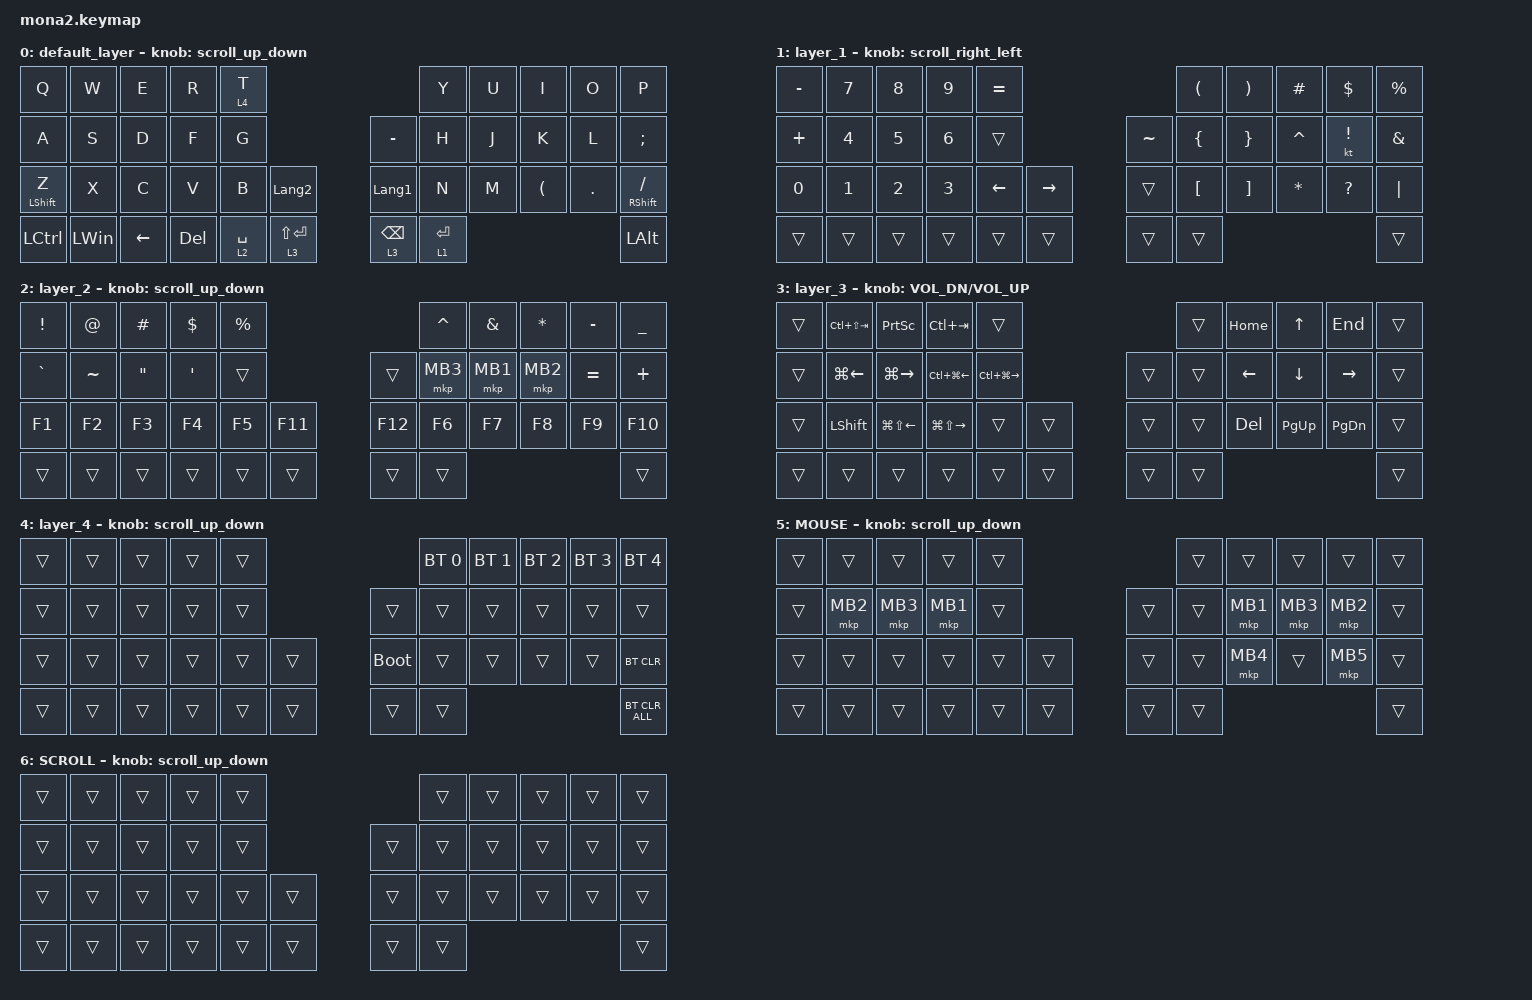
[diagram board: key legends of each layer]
#include <input/processors.dtsi>
#include <dt-bindings/zmk/input_transform.h>
#include <zephyr/dt-bindings/input/input-event-codes.h>
#include <behaviors.dtsi>
#include <dt-bindings/zmk/bt.h>
#include <dt-bindings/zmk/keys.h>
#include <dt-bindings/zmk/pointing.h>

#define ZMK_POINTING_DEFAULT_SCRL_VAL 100
#define MOUSE 5
#define SCROLL 6

&mt {
    flavor = "balanced";
    quick-tap-ms = <0>;
};

&lt {
    quick-tap-ms = <300>;
    flavor = "balanced";
};

/ {
    combos {
        compatible = "zmk,combos";

        layer4_ESC {
            bindings = <&lt 4 ESC>;
            key-positions = <39 38>;
        };

        tab {
            bindings = <&kp TAB>;
            key-positions = <11 12>;
        };

        kako {
            bindings = <&kp RIGHT_PARENTHESIS>;
            key-positions = <30 31>;
        };

        underbar {
            bindings = <&kp UNDER>;
            key-positions = <15 16>;
        };

        hidari {
            bindings = <&kp RIGHT_ARROW>;
            key-positions = <35 34>;
        };

        atto1 {
            bindings = <&kp AT>;
            key-positions = <8 9>;
        };

        koron {
            bindings = <&kp COLON>;
            key-positions = <20 19>;
        };

        semi {
            bindings = <&kp COMMA>;
            key-positions = <31 32>;
        };

        Qotei {
            bindings = <&kp DOUBLE_QUOTES>;
            key-positions = <6 7>;
        };

        Qsin {
            bindings = <&kp SINGLE_QUOTE>;
            key-positions = <17 18>;
        };
    };

    macros {
        to_layer_0: to_layer_0 {
            compatible = "zmk,behavior-macro-one-param";
            #binding-cells = <1>;
            bindings = <&to 0 &macro_param_1to1 &kp MACRO_PLACEHOLDER>;
            label = "TO_LAYER_0";
        };
    };

    behaviors {
        lt_to_layer_0: lt_to_layer_0 {
            compatible = "zmk,behavior-hold-tap";
            label = "LAYER_TAP_TO_0";
            bindings = <&mo>, <&to_layer_0>;

            #binding-cells = <2>;
            tapping-term-ms = <200>;
        };

        scroll_up_down: mouse_wheel_up_down {
            compatible = "zmk,behavior-sensor-rotate";
            #sensor-binding-cells = <0>;
            bindings = <&msc SCRL_DOWN>, <&msc SCRL_UP>;

            tap-ms = <20>;
        };

        scroll_right_left: mouse_wheel_right_left {
            compatible = "zmk,behavior-sensor-rotate";
            #sensor-binding-cells = <0>;
            bindings = <&msc SCRL_LEFT>, <&msc SCRL_RIGHT>;

            tap-ms = <20>;
        };
    };

    keymap {
        compatible = "zmk,keymap";

        default_layer {
            bindings = <
&kp Q             &kp W         &kp E           &kp R       &lt 4 T                                                                &kp Y        &kp U  &kp I                 &kp O    &kp P
&kp A             &kp S         &kp D           &kp F       &kp G                                      &kp MINUS                   &kp H        &kp J  &kp K                 &kp L    &kp SEMICOLON
&mt LEFT_SHIFT Z  &kp X         &kp C           &kp V       &kp B        &kp LANGUAGE_2                &kp LANGUAGE_1              &kp N        &kp M  &kp LEFT_PARENTHESIS  &kp DOT  &mt RIGHT_SHIFT SLASH
&kp LCTRL         &kp LEFT_WIN  &kp LEFT_ARROW  &kp DELETE  &lt 2 SPACE  &lt_to_layer_0 3 LS(ENTER)    &lt_to_layer_0 3 BACKSPACE  &lt 1 ENTER                                        &kp LEFT_ALT
            >;

            sensor-bindings = <&scroll_up_down>;
        };

        layer_1 {
            bindings = <
&kp MINUS  &kp N7  &kp N8  &kp N9  &kp EQUAL                                     &kp LEFT_PARENTHESIS  &kp RIGHT_PARENTHESIS  &kp POUND     &kp DOLLAR       &kp PERCENT
&kp PLUS   &kp N4  &kp N5  &kp N6  &trans                             &kp TILDE  &kp LEFT_BRACE        &kp RIGHT_BRACE        &kp CARET     &kt EXCLAMATION  &kp AMPERSAND
&kp N0     &kp N1  &kp N2  &kp N3  &kp LEFT_ARROW  &kp RIGHT_ARROW    &trans     &kp LEFT_BRACKET      &kp RIGHT_BRACKET      &kp ASTERISK  &kp QUESTION     &kp PIPE
&trans     &trans  &trans  &trans  &trans          &trans             &trans     &trans                                                                      &trans
            >;

            sensor-bindings = <&scroll_right_left>;
        };

        layer_2 {
            bindings = <
&kp EXCLAMATION  &kp AT_SIGN  &kp POUND          &kp DOLLAR  &kp PERCENT                      &kp CARET  &kp AMPERSAND  &kp ASTERISK  &kp MINUS  &kp UNDERSCORE
&kp GRAVE        &kp TILDE    &kp DOUBLE_QUOTES  &kp SQT     &trans                  &trans   &mkp MB3   &mkp MB1       &mkp MB2      &kp EQUAL  &kp PLUS
&kp F1           &kp F2       &kp F3             &kp F4      &kp F5       &kp F11    &kp F12  &kp F6     &kp F7         &kp F8        &kp F9     &kp F10
&trans           &trans       &trans             &trans      &trans       &trans     &trans   &trans                                             &trans
            >;

            sensor-bindings = <&scroll_up_down>;
        };

        layer_3 {
            bindings = <
&trans  &kp LC(LS(TAB))     &kp PRINTSCREEN         &kp LC(TAB)              &trans                                     &trans  &kp HOME        &kp UP_ARROW    &kp END          &trans
&trans  &kp LG(LEFT_ARROW)  &kp LG(RIGHT_ARROW)     &kp LC(LG(LEFT_ARROW))   &kp LC(LG(RIGHT_ARROW))            &trans  &trans  &kp LEFT_ARROW  &kp DOWN_ARROW  &kp RIGHT_ARROW  &trans
&trans  &kp LEFT_SHIFT      &kp LG(LS(LEFT_ARROW))  &kp LG(LS(RIGHT_ARROW))  &trans                   &trans    &trans  &trans  &kp DELETE      &kp PAGE_UP     &kp PAGE_DOWN    &trans
&trans  &trans              &trans                  &trans                   &trans                   &trans    &trans  &trans                                                   &trans
            >;

            sensor-bindings = <&inc_dec_kp C_VOL_DN C_VOL_UP>;
        };

        layer_4 {
            bindings = <
&trans  &trans  &trans  &trans  &trans                         &bt BT_SEL 0  &bt BT_SEL 1  &bt BT_SEL 2  &bt BT_SEL 3  &bt BT_SEL 4
&trans  &trans  &trans  &trans  &trans            &trans       &trans        &trans        &trans        &trans        &trans
&trans  &trans  &trans  &trans  &trans  &trans    &bootloader  &trans        &trans        &trans        &trans        &bt BT_CLR
&trans  &trans  &trans  &trans  &trans  &trans    &trans       &trans                                                  &bt BT_CLR_ALL
            >;

            sensor-bindings = <&scroll_up_down>;
        };

        MOUSE {
            bindings = <
&trans  &trans    &trans    &trans    &trans                    &trans  &trans    &trans    &trans    &trans
&trans  &mkp MB2  &mkp MB3  &mkp MB1  &trans            &trans  &trans  &mkp MB1  &mkp MB3  &mkp MB2  &trans
&trans  &trans    &trans    &trans    &trans  &trans    &trans  &trans  &mkp MB4  &trans    &mkp MB5  &trans
&trans  &trans    &trans    &trans    &trans  &trans    &trans  &trans                                &trans
            >;

            sensor-bindings = <&scroll_up_down>;
        };

        SCROLL {
            bindings = <
&trans  &trans  &trans  &trans  &trans                    &trans  &trans  &trans  &trans  &trans
&trans  &trans  &trans  &trans  &trans            &trans  &trans  &trans  &trans  &trans  &trans
&trans  &trans  &trans  &trans  &trans  &trans    &trans  &trans  &trans  &trans  &trans  &trans
&trans  &trans  &trans  &trans  &trans  &trans    &trans  &trans                          &trans
            >;

            sensor-bindings = <&scroll_up_down>;
        };
    };
};
